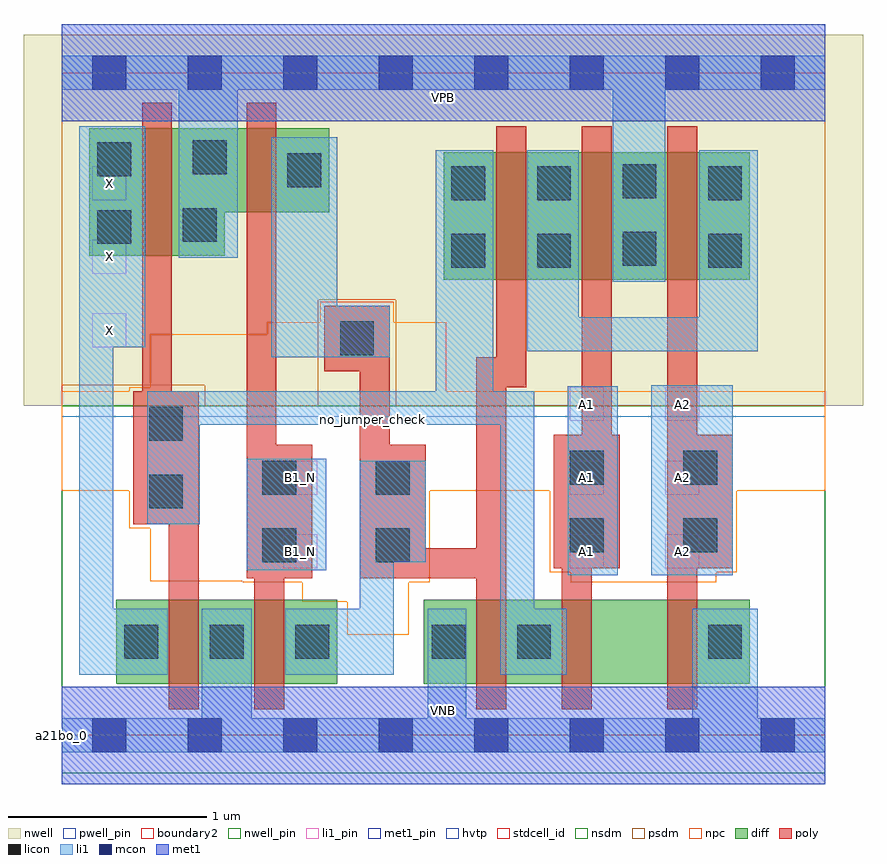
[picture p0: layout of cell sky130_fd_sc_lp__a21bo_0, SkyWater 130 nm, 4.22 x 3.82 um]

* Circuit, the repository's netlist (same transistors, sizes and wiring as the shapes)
* Copyright 2020 The SkyWater PDK Authors
*
* Licensed under the Apache License, Version 2.0 (the "License");
* you may not use this file except in compliance with the License.
* You may obtain a copy of the License at
*
*     https://www.apache.org/licenses/LICENSE-2.0
*
* Unless required by applicable law or agreed to in writing, software
* distributed under the License is distributed on an "AS IS" BASIS,
* WITHOUT WARRANTIES OR CONDITIONS OF ANY KIND, either express or implied.
* See the License for the specific language governing permissions and
* limitations under the License.
*
* SPDX-License-Identifier: Apache-2.0

.SUBCKT sky130_fd_sc_lp__a21bo_0 A1 A2 B1_N VGND VNB VPB VPWR X
*.PININFO A1:I A2:I B1_N:I VGND:I VNB:I VPB:I VPWR:I X:O
MMPA0 pndA A1 VPWR VPB sky130_fd_pr__pfet_01v8_hvt m=1 w=0.64U l=0.15U mult=1 sa=0.265
+ sb=0.265 sd=0.28 area=0.063 perim=1.14
MMPA1 pndA A2 VPWR VPB sky130_fd_pr__pfet_01v8_hvt m=1 w=0.64U l=0.15U mult=1 sa=0.265
+ sb=0.265 sd=0.28 area=0.063 perim=1.14
MMPB0 y B1 pndA VPB sky130_fd_pr__pfet_01v8_hvt m=1 w=0.64U l=0.15U mult=1 sa=0.265
+ sb=0.265 sd=0.28 area=0.063 perim=1.14
MMIPB1N B1 B1_N VPWR VPB sky130_fd_pr__pfet_01v8_hvt m=1 w=0.42U l=0.15U mult=1
+ sa=0.265 sb=0.265 sd=0.28 area=0.063 perim=1.14
MMIPX X y VPWR VPB sky130_fd_pr__pfet_01v8_hvt m=1 w=0.64U l=0.15U mult=1 sa=0.265
+ sb=0.265 sd=0.28 area=0.063 perim=1.14
MMNA0 y A1 sndA1 VNB sky130_fd_pr__nfet_01v8 m=1 w=0.42U l=0.15U mult=1 sa=0.265
+ sb=0.265 sd=0.28 area=0.063 perim=1.14
MMNA1 sndA1 A2 VGND VNB sky130_fd_pr__nfet_01v8 m=1 w=0.42U l=0.15U mult=1 sa=0.265
+ sb=0.265 sd=0.28 area=0.063 perim=1.14
MMNB0 y B1 VGND VNB sky130_fd_pr__nfet_01v8 m=1 w=0.42U l=0.15U mult=1 sa=0.265
+ sb=0.265 sd=0.28 area=0.063 perim=1.14
MMINB1N B1 B1_N VGND VNB sky130_fd_pr__nfet_01v8 m=1 w=0.42U l=0.15U mult=1 sa=0.265
+ sb=0.265 sd=0.28 area=0.063 perim=1.14
MMINX X y VGND VNB sky130_fd_pr__nfet_01v8 m=1 w=0.42U l=0.15U mult=1 sa=0.265
+ sb=0.265 sd=0.28 area=0.063 perim=1.14
.ENDS sky130_fd_sc_lp__a21bo_0

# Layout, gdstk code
import gdstk
lib = gdstk.Library(unit=1e-6, precision=1e-09)
def R(c, l, rs):  # rectangles x0, y0, x1, y1
    for r in rs: c.add(gdstk.rectangle(r[:2], r[2:], *l))
def A(c, l, x, y, w, h, nx, ny, dx, dy):  # array of equal rectangles
    R(c, l, [(x+i*dx, y+j*dy, x+i*dx+w, y+j*dy+h) for i in range(nx) for j in range(ny)])
def P(c, l, *ps):  # polygons
    for p in ps: c.add(gdstk.Polygon(p, *l))
nwell_pin = (64, 16)
nwell = (64, 20)
diff = (65, 20)
poly = (66, 20)
licon = (66, 44)
li1_pin = (67, 16)
li1 = (67, 20)
mcon = (67, 44)
met1_pin = (68, 16)
met1 = (68, 20)
hvtp = (78, 44)
stdcell_id = (81, 4)
nsdm = (93, 44)
psdm = (94, 20)
npc = (95, 20)
pwell_pin = (122, 16)
boundary2 = (236, 0)

sky130_fd_sc_lp__a21bo_0 = lib.new_cell('sky130_fd_sc_lp__a21bo_0')
R(sky130_fd_sc_lp__a21bo_0, nwell_pin, [(0,3.085,3.84,3.33)])
R(sky130_fd_sc_lp__a21bo_0, nwell, [(-0.19,1.655,4.03,3.52)])
R(sky130_fd_sc_lp__a21bo_0, diff, [(0.275,0.26,1.385,0.68), (1.82,0.26,3.46,0.68), (1.92,2.29,3.46,2.93)])
P(sky130_fd_sc_lp__a21bo_0, diff, [(1.345,3.05),(0.14,3.05),(0.14,2.41),(0.82,2.41),(0.82,2.63),(1.345,2.63)])
P(sky130_fd_sc_lp__a21bo_0, poly, [(0.69,1.73),(0.555,1.73),(0.555,3.18),(0.405,3.18),(0.405,1.73),(0.36,1.73),(0.36,1.06),(0.54,1.06),(0.54,0.13),(0.69,0.13)],
  [(1.26,1.46),(1.08,1.46),(1.08,3.18),(0.93,3.18),(0.93,0.79),(0.97,0.79),(0.97,0.13),(1.12,0.13),(1.12,0.79),(1.26,0.79)],
  [(2.335,3.06),(2.185,3.06),(2.185,1.9),(2.085,1.9),(2.085,0.94),(1.83,0.94),(1.83,1.46),(1.65,1.46),(1.65,2.16),(1.32,2.16),(1.32,1.83),(1.5,1.83),(1.5,0.79),(2.085,0.79),(2.085,0.13),(2.235,0.13),(2.235,1.75),(2.335,1.75)],
  [(2.805,1.51),(2.765,1.51),(2.765,3.06),(2.615,3.06),(2.615,1.51),(2.475,1.51),(2.475,0.84),(2.515,0.84),(2.515,0.13),(2.665,0.13),(2.665,0.84),(2.805,0.84)],
  [(3.375,1.51),(3.195,1.51),(3.195,3.06),(3.045,3.06),(3.045,0.13),(3.195,0.13),(3.195,0.84),(3.375,0.84)])
A(sky130_fd_sc_lp__a21bo_0, licon, 0.315, 0.385, 0.17, 0.17, 3, 1, 0.43, 0)
R(sky130_fd_sc_lp__a21bo_0, licon, [(1.86,0.385,2.03,0.555), (2.29,0.385,2.46,0.555), (3.25,0.385,3.42,0.555), (1.01,0.87,1.18,1.04), (1.58,0.87,1.75,1.04), (2.555,0.92,2.725,1.09), (3.125,0.92,3.295,1.09), (0.44,1.14,0.61,1.31), (1.01,1.21,1.18,1.38), (1.58,1.21,1.75,1.38), (2.555,1.26,2.725,1.43), (3.125,1.26,3.295,1.43), (0.44,1.48,0.61,1.65), (1.4,1.91,1.57,2.08), (1.96,2.35,2.13,2.52), (2.39,2.35,2.56,2.52), (3.25,2.35,3.42,2.52), (2.82,2.36,2.99,2.53), (0.18,2.47,0.35,2.64), (0.61,2.48,0.78,2.65), (1.96,2.69,2.13,2.86), (2.39,2.69,2.56,2.86), (3.25,2.69,3.42,2.86), (2.82,2.7,2.99,2.87), (1.135,2.755,1.305,2.925), (0.18,2.81,0.35,2.98), (0.66,2.82,0.83,2.99)])
A(sky130_fd_sc_lp__a21bo_0, li1_pin, 2.555, 0.84, 0.17, 0.17, 1, 3, 0, 0.37)
A(sky130_fd_sc_lp__a21bo_0, li1_pin, 3.035, 0.84, 0.17, 0.17, 1, 3, 0, 0.37)
A(sky130_fd_sc_lp__a21bo_0, li1_pin, 0.155, 1.95, 0.17, 0.17, 1, 3, 0, 0.37)
R(sky130_fd_sc_lp__a21bo_0, li1_pin, [(1.115,0.84,1.285,1.01), (1.115,1.21,1.285,1.38)])
R(sky130_fd_sc_lp__a21bo_0, li1, [(2.545,0.805,2.795,1.755), (2.965,0.805,3.375,1.76), (0.93,0.83,1.33,1.39)])
P(sky130_fd_sc_lp__a21bo_0, li1, [(2.54,0.635),(2.375,0.635),(2.375,1.73),(2.17,1.73),(2.17,2.94),(1.88,2.94),(1.88,1.73),(0.43,1.73),(0.43,1.06),(0.695,1.06),(0.695,1.56),(2.205,1.56),(2.205,0.305),(2.54,0.305)],
  [(3.84,3.415),(0,3.415),(0,3.245),(0.59,3.245),(0.59,2.4),(0.885,2.4),(0.885,3.245),(2.77,3.245),(2.77,2.28),(3.035,2.28),(3.035,3.245),(3.84,3.245)],
  [(3.84,0.085),(3.5,0.085),(3.5,0.635),(3.17,0.635),(3.17,0.085),(2.035,0.085),(2.035,0.635),(1.84,0.635),(1.84,0.085),(0.955,0.085),(0.955,0.635),(0.705,0.635),(0.705,0.085),(0,0.085),(0,-0.085),(3.84,-0.085)],
  [(0.535,0.635),(0.26,0.635),(0.26,1.95),(0.42,1.95),(0.42,3.06),(0.09,3.06),(0.09,0.305),(0.535,0.305)],
  [(1.65,2.16),(1.385,2.16),(1.385,3.005),(1.055,3.005),(1.055,1.9),(1.65,1.9)],
  [(1.83,1.38),(1.5,1.38),(1.5,0.635),(1.125,0.635),(1.125,0.305),(1.67,0.305),(1.67,0.87),(1.83,0.87)],
  [(3.5,2.94),(3.205,2.94),(3.205,2.1),(2.6,2.1),(2.6,2.94),(2.34,2.94),(2.34,1.93),(3.5,1.93)])
A(sky130_fd_sc_lp__a21bo_0, mcon, 0.155, -0.085, 0.17, 0.17, 8, 2, 0.48, 3.33)
R(sky130_fd_sc_lp__a21bo_0, met1_pin, [(0,0,3.84,0.245), (0,3.085,3.84,3.33)])
R(sky130_fd_sc_lp__a21bo_0, met1, [(0,-0.245,3.84,0.245), (0,3.085,3.84,3.575)])
R(sky130_fd_sc_lp__a21bo_0, hvtp, [(0,1.6,3.84,3.33)])
R(sky130_fd_sc_lp__a21bo_0, stdcell_id, [(0,0,3.84,3.33)])
R(sky130_fd_sc_lp__a21bo_0, nsdm, [(0,-0.19,3.84,1.655)])
P(sky130_fd_sc_lp__a21bo_0, psdm, [(3.84,3.52),(0,3.52),(0,1.76),(0.72,1.76),(0.72,1.655),(1.29,1.655),(1.29,2.19),(1.68,2.19),(1.68,1.655),(3.84,1.655)])
P(sky130_fd_sc_lp__a21bo_0, npc, [(3.84,1.73),(1.935,1.73),(1.935,2.075),(1.67,2.075),(1.67,2.18),(1.3,2.18),(1.3,2.075),(1.035,2.075),(1.035,2.015),(0.445,2.015),(0.445,1.75),(0.34,1.75),(0.34,1.73),(0,1.73),(0,1.23),(0.34,1.23),(0.34,1.04),(0.445,1.04),(0.445,0.775),(0.91,0.775),(0.91,0.77),(1.21,0.77),(1.21,0.67),(1.435,0.67),(1.435,0.505),(1.745,0.505),(1.745,0.77),(1.85,0.77),(1.85,1.23),(2.455,1.23),(2.455,0.82),(2.56,0.82),(2.56,0.77),(3.29,0.77),(3.29,0.82),(3.395,0.82),(3.395,1.23),(3.84,1.23)])
R(sky130_fd_sc_lp__a21bo_0, pwell_pin, [(0,0,3.84,0.245)])
R(sky130_fd_sc_lp__a21bo_0, boundary2, [(0,0,3.84,3.33)])
sky130_fd_sc_lp__a21bo_0.add(gdstk.Label('VNB', (1.92,0.123), layer=64, texttype=59))
sky130_fd_sc_lp__a21bo_0.add(gdstk.Label('VPB', (1.92,3.208), layer=64, texttype=5))
sky130_fd_sc_lp__a21bo_0.add(gdstk.Label('a21bo_0', (0,0), layer=83, texttype=44))
sky130_fd_sc_lp__a21bo_0.add(gdstk.Label('no_jumper_check', (1.565,1.585), layer=83, texttype=44))
sky130_fd_sc_lp__a21bo_0.add(gdstk.Label('VPWR', (1.92,3.208), layer=68, texttype=5))
sky130_fd_sc_lp__a21bo_0.add(gdstk.Label('VGND', (1.92,0.123), layer=68, texttype=5))
sky130_fd_sc_lp__a21bo_0.add(gdstk.Label('A2', (3.12,0.925), layer=67, texttype=5))
sky130_fd_sc_lp__a21bo_0.add(gdstk.Label('A2', (3.12,1.295), layer=67, texttype=5))
sky130_fd_sc_lp__a21bo_0.add(gdstk.Label('A2', (3.12,1.665), layer=67, texttype=5))
sky130_fd_sc_lp__a21bo_0.add(gdstk.Label('B1_N', (1.2,0.925), layer=67, texttype=5))
sky130_fd_sc_lp__a21bo_0.add(gdstk.Label('B1_N', (1.2,1.295), layer=67, texttype=5))
sky130_fd_sc_lp__a21bo_0.add(gdstk.Label('A1', (2.64,0.925), layer=67, texttype=5))
sky130_fd_sc_lp__a21bo_0.add(gdstk.Label('A1', (2.64,1.295), layer=67, texttype=5))
sky130_fd_sc_lp__a21bo_0.add(gdstk.Label('A1', (2.64,1.665), layer=67, texttype=5))
sky130_fd_sc_lp__a21bo_0.add(gdstk.Label('X', (0.24,2.035), layer=67, texttype=5))
sky130_fd_sc_lp__a21bo_0.add(gdstk.Label('X', (0.24,2.405), layer=67, texttype=5))
sky130_fd_sc_lp__a21bo_0.add(gdstk.Label('X', (0.24,2.775), layer=67, texttype=5))

lib.write_gds('sky130_fd_sc_lp__a21bo_0.gds')
